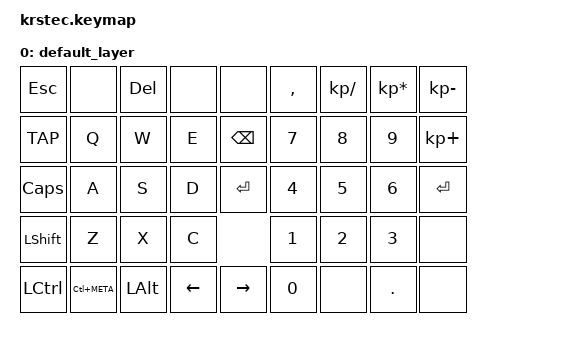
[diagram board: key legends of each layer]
#include <behaviores.dtsi>
#include <dt-bindings/zmk/keys.h>
#include <dt-bingings/zmk/bt.h>

/ { // Inicio del device tree para este keymap
    keymap { // Definición del keymap para ZMK
        compatible = "zmk,keymap"; // Indica que este bloque es un keymap de ZMK

        default_layer { // Definición de la capa por defecto (la que se usa al encender el teclado)
            bindings = < // Aquí van las asignaciones de teclas, en orden: fila por fila, de izquierda a derecha

                &kp ESC        &none         &kp DEL   &none     &none      &kp COMMA  &kp KP_SLASH  &kp KP_ASTERISK  &kp KP_MINUS    
                &kp TAP        &kp Q         &kp W     &kp E     &kp BSPC   &kp 7      &kp 8         &kp 9            &kp KP_PLUS    
                &kp CAPSLOCK   &kp A         &kp S     &kp D     &kp ENTER  &kp 4      &kp 5         &kp 6            &kp ENTER      
                &kp LSHIFT     &kp Z         &kp X     &kp C                &kp 1      &kp 2         &kp 3            &none          
                &kp LCTRL      &kp LC(META)  &kp LALT  &kp LEFT  &kp RIGHT  &kp 0      &none         &kp DOT          &none        
            >;
        };
    };
};

